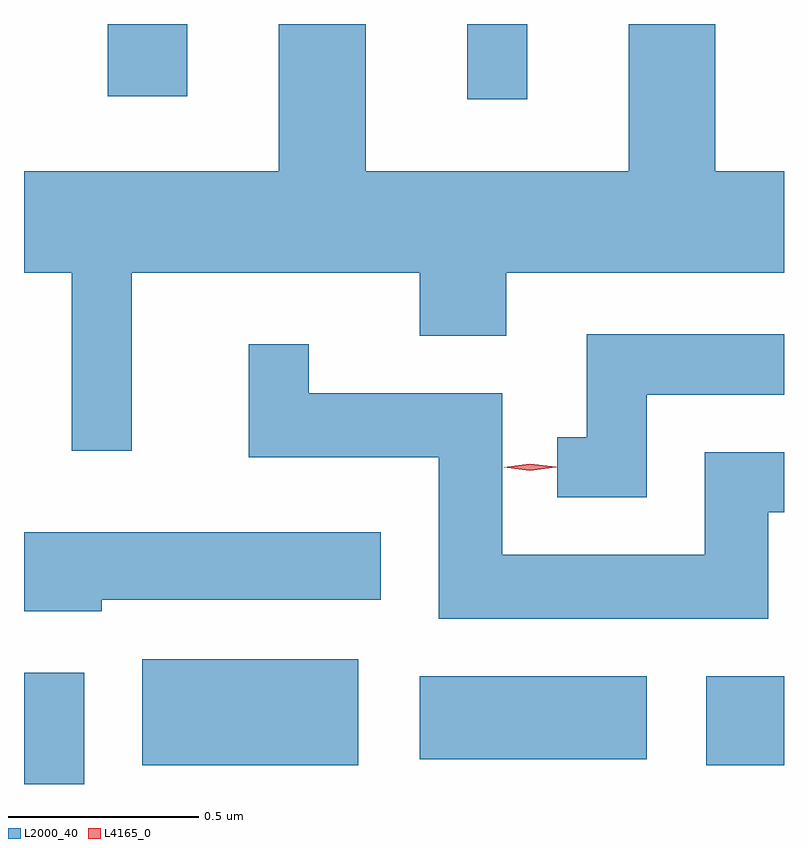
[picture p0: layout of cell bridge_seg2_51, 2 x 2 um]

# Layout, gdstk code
import gdstk
lib = gdstk.Library(unit=1e-6, precision=1e-09)
def R(c, l, rs):  # rectangles x0, y0, x1, y1
    for r in rs: c.add(gdstk.rectangle(r[:2], r[2:], *l))
def P(c, l, *ps):  # polygons
    for p in ps: c.add(gdstk.Polygon(p, *l))
L2000_40 = (2000, 40)
L4165_0 = (4165, 0)

bridge_seg2_51 = lib.new_cell('bridge_seg2_51')
R(bridge_seg2_51, L2000_40, [(1406.291,1055.901,1406.859,1056.179), (1407.776,1055.901,1407.98,1056.134), (1407.021,1055.916,1407.619,1056.134), (1407.146,1057.653,1407.304,1057.851), (1406.201,1057.661,1406.409,1057.851)])
P(bridge_seg2_51, L2000_40, [(1406.264,1057.196),(1407.021,1057.196),(1407.021,1057.031),(1407.249,1057.031),(1407.249,1057.196),(1407.98,1057.196),(1407.98,1057.464),(1407.799,1057.464),(1407.799,1057.851),(1407.571,1057.851),(1407.571,1057.464),(1406.879,1057.464),(1406.879,1057.851),(1406.651,1057.851),(1406.651,1057.464),(1405.98,1057.464),(1405.98,1057.196),(1406.106,1057.196),(1406.106,1056.728),(1406.264,1056.728)],
  [(1407.619,1056.876),(1407.98,1056.876),(1407.98,1057.034),(1407.461,1057.034),(1407.461,1056.764),(1407.383,1056.764),(1407.383,1056.606),(1407.619,1056.606)],
  [(1407.939,1056.566),(1407.98,1056.566),(1407.98,1056.724),(1407.771,1056.724),(1407.771,1056.454),(1407.239,1056.454),(1407.239,1056.879),(1406.729,1056.879),(1406.729,1057.008),(1406.571,1057.008),(1406.571,1056.711),(1407.071,1056.711),(1407.071,1056.286),(1407.939,1056.286)],
  [(1406.184,1056.336),(1406.919,1056.336),(1406.919,1056.514),(1405.98,1056.514),(1405.98,1056.306),(1406.184,1056.306)],
  [(1406.139,1056.144),(1405.98,1056.144),(1405.98,1055.936),(1405.981,1055.936),(1405.981,1055.851),(1406.139,1055.851)])
P(bridge_seg2_51, L4165_0, [(1407.311,1056.675),(1407.242,1056.684),(1407.242,1056.684),(1407.242,1056.685),(1407.311,1056.694),(1407.381,1056.686),(1407.381,1056.685),(1407.381,1056.684)])

lib.write_gds('bridge_seg2_51.gds')
